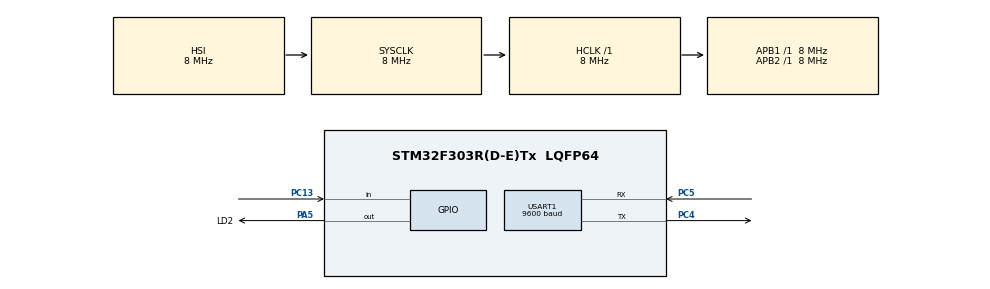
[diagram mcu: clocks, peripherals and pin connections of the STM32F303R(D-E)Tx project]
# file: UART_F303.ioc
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Mcu.Family=STM32F3
Mcu.Name=STM32F303R(D-E)Tx
Mcu.Package=LQFP64
NVIC.PriorityGroup=NVIC_PRIORITYGROUP_4
NVIC.USART1_IRQn=true\:0\:0\:false\:false\:true\:true\:true\:true
PA5.GPIO_Label=LD2
PA5.Signal=GPIO_Output
PC13.Signal=GPIO_Input
PC4.Mode=Asynchronous
PC4.Signal=USART1_TX
PC5.Mode=Asynchronous
PC5.Signal=USART1_RX
ProjectManager.HeapSize=0x200
ProjectManager.StackSize=0x400
ProjectManager.TargetToolchain=STM32CubeIDE
RCC.AHBFreq_Value=8000000
RCC.APB1Freq_Value=8000000
RCC.APB2Freq_Value=8000000
RCC.CortexFreq_Value=8000000
RCC.HSE_VALUE=8000000
RCC.HSI_VALUE=8000000
RCC.LSE_VALUE=32768
RCC.SYSCLKFreq_VALUE=8000000
RCC.USBFreq_Value=16000000
USART1.BaudRate=9600
USART1.VirtualMode-Asynchronous=VM_ASYNC
board=custom

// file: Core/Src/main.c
/* USER CODE BEGIN Header */
/**
  ******************************************************************************
  * @file           : main.c
  * @brief          : Main program body
  ******************************************************************************
  * @attention
  *
  * Copyright (c) 2025 STMicroelectronics.
  * All rights reserved.
  *
  * This software is licensed under terms that can be found in the LICENSE file
  * in the root directory of this software component.
  * If no LICENSE file comes with this software, it is provided AS-IS.
  *
  ******************************************************************************
  */
/* USER CODE END Header */
#include "main.h"

UART_HandleTypeDef huart1;

void SystemClock_Config(void);
static void MX_GPIO_Init(void);
static void MX_USART1_UART_Init(void);

/* USER CODE BEGIN 0 */
char txMsg[] = "PING PONG";
char rxBuf[10];
uint8_t rxFlag = 0;  // Veri geldi mi flag
/* USER CODE END 0 */

int main(void)
{

  /* MCU Configuration--------------------------------------------------------*/

  /* Reset of all peripherals, Initializes the Flash interface and the Systick. */
  HAL_Init();

  /* Configure the system clock */
  SystemClock_Config();

  /* Initialize all configured peripherals */
  MX_GPIO_Init();
  MX_USART1_UART_Init();
  /* USER CODE BEGIN 2 */
  HAL_UART_Receive_IT(&huart1, (uint8_t*)rxBuf, 10);
  /* USER CODE END 2 */

  /* Infinite loop */
  while (1)
  {

    /* USER CODE BEGIN 3 */

	  /* test için
	  if (HAL_GPIO_ReadPin(GPIOC, GPIO_PIN_13) == GPIO_PIN_RESET) // Butona basılınca
	  {   // Gönder
		  HAL_UART_Transmit(&huart1, (uint8_t*)rxBuf, 9, HAL_MAX_DELAY); HAL_Delay(200); }
	  */

	  HAL_UART_Transmit(&huart1, (uint8_t*)txMsg, 10, HAL_MAX_DELAY);
	  HAL_Delay(200);
	  // Eğer cevap geldiyse
	  if (rxFlag)
	  {
		  rxFlag = 0; // sıfırla
		  HAL_GPIO_TogglePin(GPIOA, GPIO_PIN_5); // LED toggle
		  HAL_Delay(200); // Tekrar dinlemeye başla
		  HAL_UART_Receive_IT(&huart1, (uint8_t*)rxBuf, 10);
	  }
  }
  /* USER CODE END 3 */
}

void SystemClock_Config(void)
{
  RCC_OscInitTypeDef RCC_OscInitStruct = {0};
  RCC_ClkInitTypeDef RCC_ClkInitStruct = {0};
  RCC_PeriphCLKInitTypeDef PeriphClkInit = {0};

  /** Initializes the RCC Oscillators according to the specified parameters
  * in the RCC_OscInitTypeDef structure.
  */
  RCC_OscInitStruct.OscillatorType = RCC_OSCILLATORTYPE_HSI;
  RCC_OscInitStruct.HSIState = RCC_HSI_ON;
  RCC_OscInitStruct.HSICalibrationValue = RCC_HSICALIBRATION_DEFAULT;
  RCC_OscInitStruct.PLL.PLLState = RCC_PLL_NONE;
  if (HAL_RCC_OscConfig(&RCC_OscInitStruct) != HAL_OK)
  {
    Error_Handler();
  }

  /** Initializes the CPU, AHB and APB buses clocks
  */
  RCC_ClkInitStruct.ClockType = RCC_CLOCKTYPE_HCLK|RCC_CLOCKTYPE_SYSCLK
                              |RCC_CLOCKTYPE_PCLK1|RCC_CLOCKTYPE_PCLK2;
  RCC_ClkInitStruct.SYSCLKSource = RCC_SYSCLKSOURCE_HSI;
  RCC_ClkInitStruct.AHBCLKDivider = RCC_SYSCLK_DIV1;
  RCC_ClkInitStruct.APB1CLKDivider = RCC_HCLK_DIV1;
  RCC_ClkInitStruct.APB2CLKDivider = RCC_HCLK_DIV1;

  if (HAL_RCC_ClockConfig(&RCC_ClkInitStruct, FLASH_LATENCY_0) != HAL_OK)
  {
    Error_Handler();
  }
  PeriphClkInit.PeriphClockSelection = RCC_PERIPHCLK_USART1;
  PeriphClkInit.Usart1ClockSelection = RCC_USART1CLKSOURCE_PCLK2;
  if (HAL_RCCEx_PeriphCLKConfig(&PeriphClkInit) != HAL_OK)
  {
    Error_Handler();
  }
}

static void MX_USART1_UART_Init(void)
{

  huart1.Instance = USART1;
  huart1.Init.BaudRate = 9600;
  huart1.Init.WordLength = UART_WORDLENGTH_8B;
  huart1.Init.StopBits = UART_STOPBITS_1;
  huart1.Init.Parity = UART_PARITY_NONE;
  huart1.Init.Mode = UART_MODE_TX_RX;
  huart1.Init.HwFlowCtl = UART_HWCONTROL_NONE;
  huart1.Init.OverSampling = UART_OVERSAMPLING_16;
  huart1.Init.OneBitSampling = UART_ONE_BIT_SAMPLE_DISABLE;
  huart1.AdvancedInit.AdvFeatureInit = UART_ADVFEATURE_NO_INIT;
  if (HAL_UART_Init(&huart1) != HAL_OK)
  {
    Error_Handler();
  }

}

static void MX_GPIO_Init(void)
{
  GPIO_InitTypeDef GPIO_InitStruct = {0};

  /* GPIO Ports Clock Enable */
  __HAL_RCC_GPIOC_CLK_ENABLE();
  __HAL_RCC_GPIOA_CLK_ENABLE();

  /*Configure GPIO pin Output Level */
  HAL_GPIO_WritePin(LD2_GPIO_Port, LD2_Pin, GPIO_PIN_RESET);

  /*Configure GPIO pin : PC13 */
  GPIO_InitStruct.Pin = GPIO_PIN_13;
  GPIO_InitStruct.Mode = GPIO_MODE_INPUT;
  GPIO_InitStruct.Pull = GPIO_NOPULL;
  HAL_GPIO_Init(GPIOC, &GPIO_InitStruct);

  /*Configure GPIO pin : LD2_Pin */
  GPIO_InitStruct.Pin = LD2_Pin;
  GPIO_InitStruct.Mode = GPIO_MODE_OUTPUT_PP;
  GPIO_InitStruct.Pull = GPIO_NOPULL;
  GPIO_InitStruct.Speed = GPIO_SPEED_FREQ_LOW;
  HAL_GPIO_Init(LD2_GPIO_Port, &GPIO_InitStruct);

}

/* USER CODE BEGIN 4 */
void HAL_UART_RxCpltCallback(UART_HandleTypeDef *huart) {
	if (huart->Instance == USART1) {
		rxFlag = 1;
		strcpy(txMsg, rxBuf);
	}
}
/* USER CODE END 4 */

void Error_Handler(void)
{
  __disable_irq();
  while (1)
  {
  }
}
